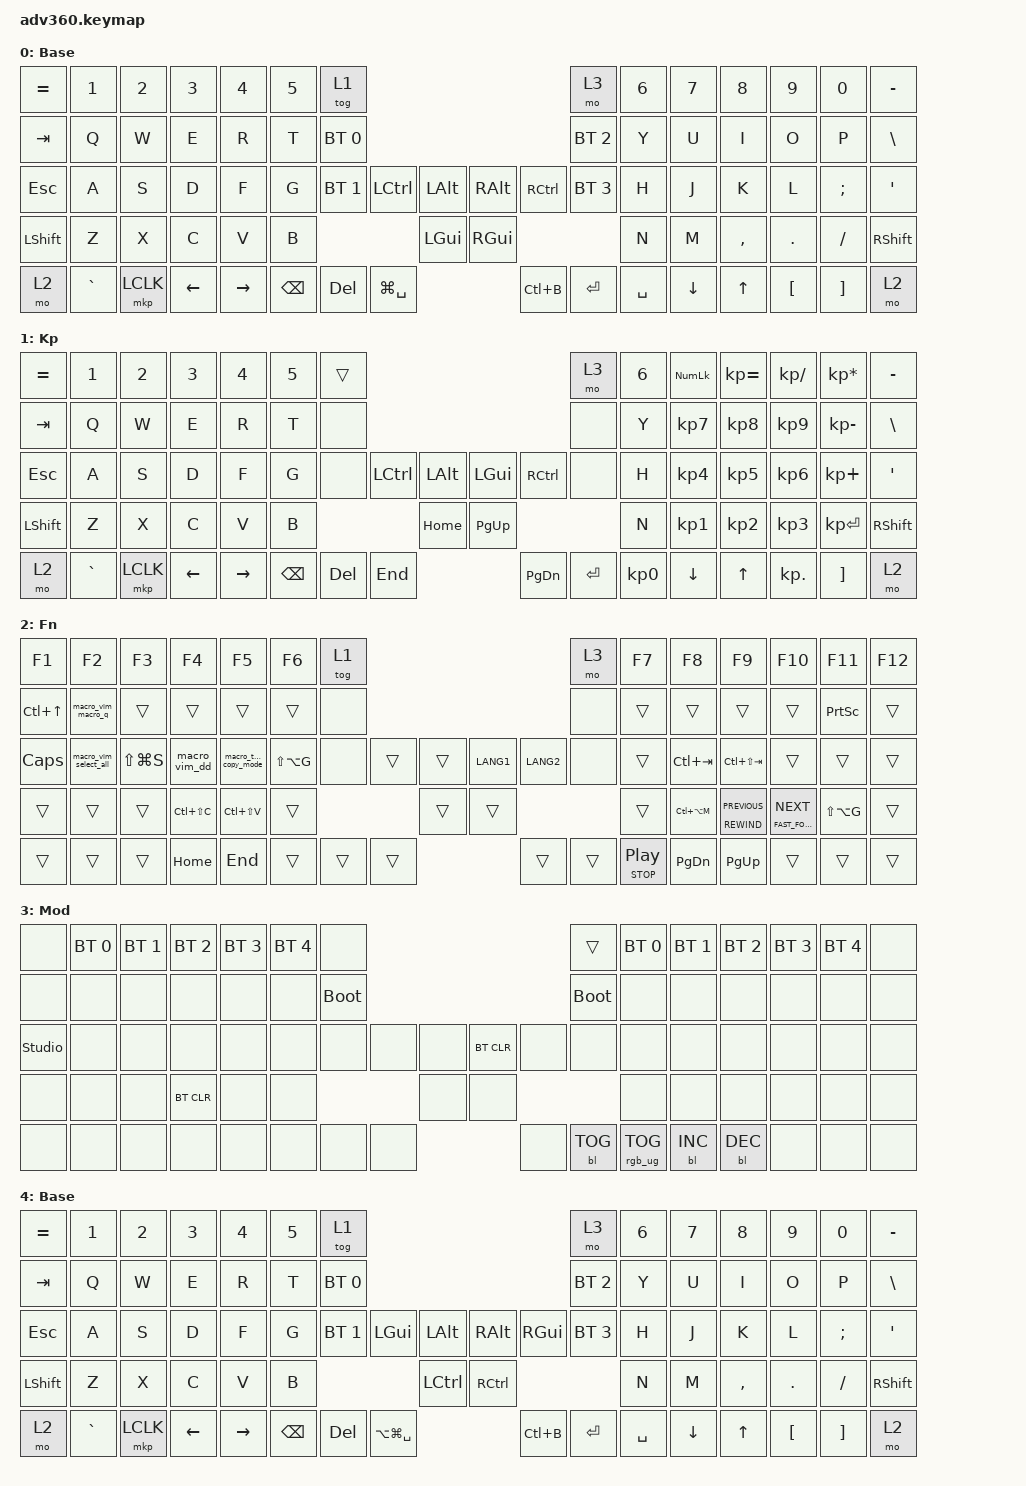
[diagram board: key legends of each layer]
#include <dt-bindings/zmk/stp.h>
#include <behaviors.dtsi>
#include <dt-bindings/zmk/backlight.h>
#include <dt-bindings/zmk/bt.h>
#include <dt-bindings/zmk/keys.h>
#include <dt-bindings/zmk/pointing.h>
#include <dt-bindings/zmk/rgb.h>

/ {
    behaviors {
        #include "macros.dtsi"
      #include "version.dtsi"

        hm: homerow_mods {
            compatible = "zmk,behavior-hold-tap";
            label = "HOMEROW_MODS";
            #binding-cells = <2>;
            tapping-term-ms = <200>;
            quick_tap_ms = <175>;
            flavor = "tap-preferred";
            bindings = <&kp>, <&kp>;
        };
    };

    macros {
        macro_vim_macro_q: nvim_macro_q {
            compatible = "zmk,behavior-macro";
            #binding-cells = <0>;
            bindings = <&kp AT_SIGN &kp Q>;
            label = "NVIM_MACRO_Q";
            wait-ms = <50>;
        };

        macro_vim_select_all: nvim_select_all {
            compatible = "zmk,behavior-macro";
            #binding-cells = <0>;
            bindings = <&kp ESC &kp G &kp G &kp LS(V) &kp LS(G)>;
            label = "NVIM_SELECT_ALL";
            wait-ms = <50>;
        };

        macro_tmux_copy_mode: tmux_copy_mode {
            compatible = "zmk,behavior-macro";
            #binding-cells = <0>;
            bindings = <&kp RC(B) &kp F>;
            label = "TMUX_COPY_MODE";
            wait-ms = <50>;
        };

        macro_vim_gg: macro_vim_gg {
            compatible = "zmk,behavior-macro";
            #binding-cells = <0>;
            bindings = <&kp G &kp G>;
            label = "MACRO_VIM_GG";
            wait-ms = <50>;
        };

        macro_vim_dd: macro_vim_dd {
            compatible = "zmk,behavior-macro";
            #binding-cells = <0>;
            bindings = <&kp D &kp D>;
            label = "MACRO_VIM_DD";
            wait-ms = <50>;
        };
    };

    keymap {
        compatible = "zmk,keymap";

        default_layer {
            display-name = "Base";
            bindings = <
&kp EQUAL  &kp N1     &kp N2     &kp N3    &kp N4     &kp N5  &tog 1                                                                &mo 3         &kp N6  &kp N7    &kp N8     &kp N9    &kp N0    &kp MINUS
&kp TAB    &kp Q      &kp W      &kp E     &kp R      &kp T   &bt BT_SEL 0                                                          &bt BT_SEL 2   &kp Y   &kp U     &kp I      &kp O     &kp P     &kp BSLH
&kp ESC    &kp A      &kp S      &kp D     &kp F      &kp G   &bt BT_SEL 1  &kp LCTRL  &kp LALT           &kp RIGHT_ALT  &kp RCTRL  &bt BT_SEL 3 &kp H &kp J   &kp K      &kp L     &kp SEMI  &kp SQT
&kp LSHFT  &kp Z      &kp X      &kp C     &kp V      &kp B                            &kp LEFT_GUI       &kp RIGHT_GUI                           &kp N   &kp M     &kp COMMA  &kp DOT   &kp FSLH  &kp RSHFT
&mo 2      &kp GRAVE    &mkp LCLK  &kp LEFT  &kp RIGHT          &kp BSPC      &kp DEL    &kp LG(SPACE)      &kp LC(B)      &kp ENTER  &kp SPACE             &kp DOWN  &kp UP     &kp LBKT  &kp RBKT  &mo 2
            >;
        };

        keypad {
            display-name = "Kp";
            bindings = <
&kp EQUAL  &kp N1     &kp N2     &kp N3     &kp N4     &kp N5  &trans                                                   &mo 3      &kp N6  &kp KP_NUM  &kp KP_EQUAL  &kp KP_DIVIDE  &kp KP_MULTIPLY  &kp MINUS
&kp TAB    &kp Q      &kp W      &kp E      &kp R      &kp T   &none                                                    &none      &kp Y   &kp KP_N7   &kp KP_N8     &kp KP_N9      &kp KP_MINUS     &kp BSLH
&kp ESC    &kp A      &kp S      &kp D      &kp F      &kp G   &none     &kp LCTRL  &kp LALT      &kp LGUI   &kp RCTRL  &none      &kp H   &kp KP_N4   &kp KP_N5     &kp KP_N6      &kp KP_PLUS      &kp SQT
&kp LSHFT  &kp Z      &kp X      &kp C      &kp V      &kp B                        &kp HOME      &kp PG_UP                        &kp N   &kp KP_N1   &kp KP_N2     &kp KP_N3      &kp KP_ENTER     &kp RSHFT
&mo 2      &kp GRAVE    &mkp LCLK  &kp LEFT   &kp RIGHT          &kp BSPC  &kp DEL    &kp END       &kp PG_DN  &kp ENTER  &kp KP_N0          &kp DOWN    &kp UP        &kp KP_DOT     &kp RBKT         &mo 2
            >;
        };

        fn {
            display-name = "Fn";
            bindings = <
&kp F1        &kp F2                 &kp F3          &kp F4         &kp F5                 &kp F6         &tog 1                                                        &mo 3                    &kp F7  &kp F8             &kp F9                   &kp F10                    &kp F11          &kp F12
&kp LC(UP)    &macro_vim_macro_q     &trans          &trans         &trans                 &trans         &none                                                         &none                    &trans  &trans             &trans                   &trans                     &kp PRINTSCREEN  &trans
&kp CAPSLOCK  &macro_vim_select_all  &kp LS(LG(S))   &macro_vim_dd  &macro_tmux_copy_mode  &kp LS(LA(G))  &none   &trans  &trans      &kp LANG1         &kp LANG2       &none         &trans  &kp LC(TAB)        &kp LC(LS(TAB))          &trans                     &trans           &trans
&trans        &trans                 &trans          &kp LC(LS(C))  &kp LC(LS(V))          &trans                         &trans      &trans                                                     &trans  &kp LC(LA(M))      &mt C_REWIND C_PREVIOUS  &mt C_FAST_FORWARD C_NEXT  &kp LS(LA(G))    &trans
&trans        &trans                 &trans          &kp HOME       &kp END                               &trans  &trans  &trans      &trans            &trans          &mt C_STOP C_PLAY_PAUSE          &kp PAGE_DOWN      &kp PAGE_UP              &trans                     &trans           &trans
            >;
        };

        mod {
            display-name = "Mod";
            bindings = <
&none           &bt BT_SEL 0  &bt BT_SEL 1  &bt BT_SEL 2  &bt BT_SEL 3  &bt BT_SEL 4  &none                                                  &trans           &bt BT_SEL 0  &bt BT_SEL 1  &bt BT_SEL 2  &bt BT_SEL 3  &bt BT_SEL 4  &none
&none           &none         &none         &none         &none         &none         &bootloader                                            &bootloader      &none  &none       &none       &none  &none  &none
&studio_unlock  &none         &none         &none         &none         &none         &none        &none  &none      &bt BT_CLR  &none       &none            &none  &none       &none       &none  &none  &none
&none           &none         &none         &bt BT_CLR    &none         &none                             &none      &none                                    &none  &none       &none       &none  &none  &none
&none           &none         &none         &none         &none                       &none        &none  &none      &none       &bl BL_TOG  &rgb_ug RGB_TOG         &bl BL_INC  &bl BL_DEC  &none  &none  &none
            >;
        };

        windows {
            display-name = "Base";
            bindings = <
&kp EQUAL  &kp N1     &kp N2     &kp N3    &kp N4     &kp N5  &tog 1                                                                   &mo 3         &kp N6  &kp N7    &kp N8     &kp N9    &kp N0    &kp MINUS
&kp TAB    &kp Q      &kp W      &kp E     &kp R      &kp T   &bt BT_SEL 0                                                             &bt BT_SEL 2   &kp Y   &kp U     &kp I      &kp O     &kp P     &kp BSLH
&kp ESC    &kp A      &kp S      &kp D     &kp F      &kp G   &bt BT_SEL 1  &kp LGUI  &kp LALT               &kp RIGHT_ALT  &kp RGUI   &bt BT_SEL 3 &kp H &kp J  &kp K      &kp L     &kp SEMI  &kp SQT
&kp LSHFT  &kp Z      &kp X      &kp C     &kp V      &kp B                           &kp LCTRL              &kp RCTRL                               &kp N   &kp M     &kp COMMA  &kp DOT   &kp FSLH  &kp RSHFT
&mo 2      &kp GRAVE   &mkp LCLK  &kp LEFT  &kp RIGHT          &kp BSPC      &kp DEL   &kp LA(LG(SPACE))      &kp LC(B)      &kp ENTER  &kp SPACE             &kp DOWN  &kp UP     &kp LBKT  &kp RBKT  &mo 2
            >;
        };

        extra1 {
            display-name = "Red";
            status = "reserved";
        };

        extra2 {
            display-name = "Purple";
            status = "reserved";
        };

        extra3 {
            display-name = "Cyan";
            status = "reserved";
        };

        extra4 {
            display-name = "Yellow";
            status = "reserved";
        };
    };
};
